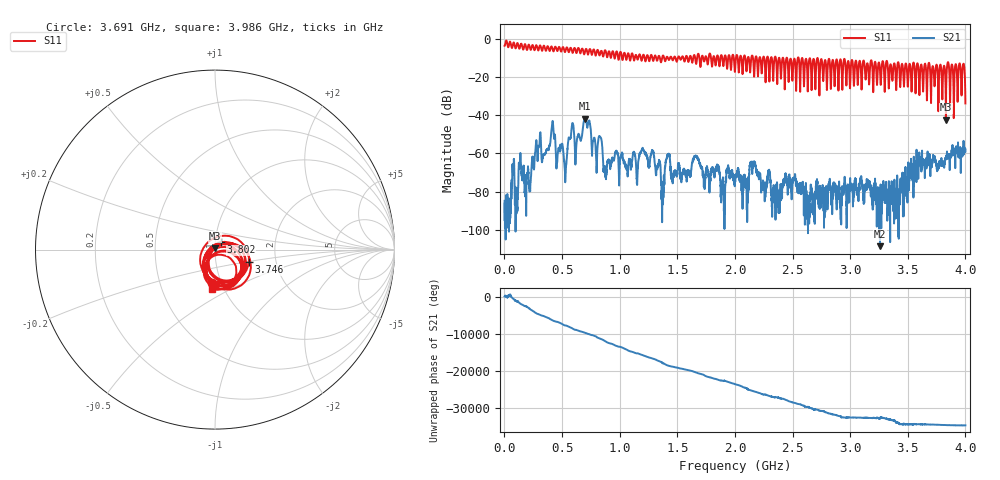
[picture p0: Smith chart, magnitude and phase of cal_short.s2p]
!Created with skrf (http://scikit-rf.org).
# GHz S RI R 50.0
!freq ReS11 ImS11 ReS21 ImS21 ReS12 ImS12 ReS22 ImS22
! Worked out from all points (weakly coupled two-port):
!   4000 points, 1 MHz to 4 GHz, reference 50 ohm
!   highest |S21| = -41.85 dB at 695 MHz (marker M1); lowest = -108.7 dB at 3.259 GHz (marker M2)
!   lowest |S11| = -42.3 dB at 3.831 GHz (marker M3), VSWR 1.02, Z = 50 + j0.765 ohm
!   |S11| at or under -10 dB: 2.452 GHz to 2.546 GHz (93.96 MHz wide, 3.76 % of centre); 2.584 GHz to 2.716 GHz (131.3 MHz wide, 4.96 % of centre); 2.717 GHz to end of sweep (the widest 3 of 49)
!   S12 and S22 are empty: the file has one direction only
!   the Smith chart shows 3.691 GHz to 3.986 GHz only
!   S11 on the Smith chart (normalised r, x): 3.691 GHz: 0.90, -0.35; 3.746 GHz: 1.45, -0.20; 3.802 GHz: 1.06, +0.09; 3.986 GHz: 0.88, -0.40
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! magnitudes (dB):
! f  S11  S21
! 1 MHz  -3.6  -84.9
! 208 MHz  -3.1  -70.0
! 419 MHz  -5.7  -43.2
! 527 MHz  -6.7  -75.2
! 581 MHz  -5.4  -47.6
! 668 MHz  -5.7  -52.0
! 695 MHz  -7.6  -41.8
! 832 MHz  -7.3  -51.5
! 875 MHz  -5.9  -68.5
! 1.334 GHz  -9.6  -66.7
! 1.374 GHz  -8.7  -84.7
! 1.418 GHz  -9.9  -61.1
! 2.001 GHz  -16.6  -73.9
! 2.667 GHz  -23.7  -81.3
! 3.259 GHz  -16.6  -108.7
! 3.334 GHz  -24.8  -89.5
! 3.691 GHz  -14.5  -64.3
! 3.746 GHz  -14.0  -65.3
! 3.802 GHz  -25.7  -65.1
! 3.831 GHz  -42.3  -62.4
! 3.986 GHz  -13.2  -60.4
! 4 GHz  -33.8  -59.0
